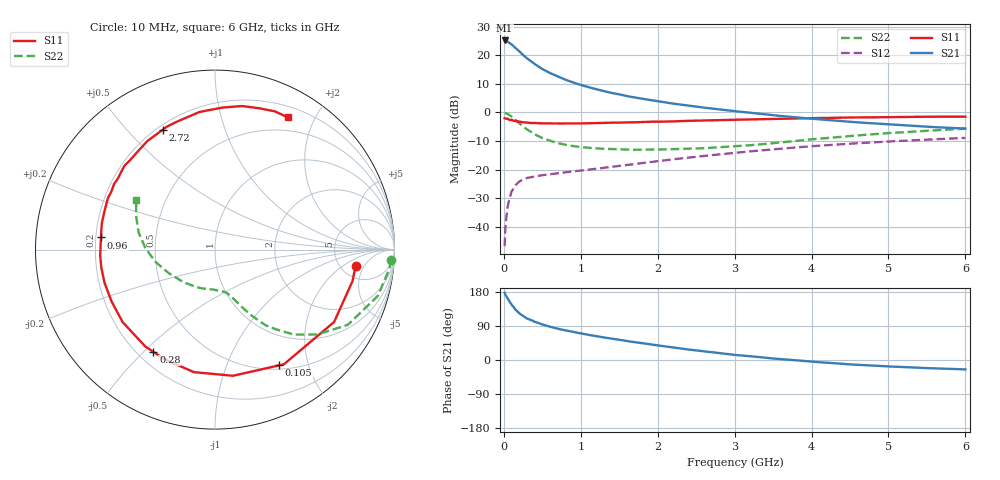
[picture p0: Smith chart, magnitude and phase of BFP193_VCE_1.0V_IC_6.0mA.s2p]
! Infineon Technologies  Discrete & RF Semiconductors
! BFP193
! VCE = 1.0 V,  IC =  6.0 mA
! Common Emitter S-Parameters:  Jan 2016
# GHz  S  MA  R  50
!  f  S11  S21  S12  S22
! GHz  MAG  ANG  MAG  ANG  MAG  ANG  MAG  ANG
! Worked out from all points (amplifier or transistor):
!   210 points, 10 MHz to 6 GHz, reference 50 ohm
!   highest |S21| = 25.1 dB at 10 MHz (marker M1)
!   |S21| within 3 dB of that: start of sweep to 167.3 MHz
!   unconditionally stable (mu >= 1): 1.152 GHz to 3.968 GHz
!   at 185 MHz: K = 0.24, MSG = 23.1 dB, |S12| = -24.6 dB
!   at 1.52 GHz: K = 1.10, MAG = 10.5 dB, |S12| = -18.6 dB
!   at 6 GHz: K = 0.96, MSG = 1.6 dB, |S12| = -8.9 dB
!   S11 on the Smith chart (normalised r, x): 10 MHz: 6.90, -3.26; 105 MHz: 0.55, -1.55; 280 MHz: 0.26, -0.53; 960 MHz: 0.22, +0.05; 2.72 GHz: 0.22, +0.63; 6 GHz: 0.33, +1.64
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0.01  0.7887 -6.5  18.05 177.3  0.0046 86.8  0.9831 -3.3
0.02  0.7861 -12.9  17.76 172.2  0.0093 80.7  0.9767 -6.5
0.05  0.7766 -31.3  17.21 161.8  0.0224 74.9  0.9429 -15.9
0.1  0.7454 -59.0  15.49 146.3  0.0412 62.6  0.8507 -29.5
0.105  0.7368 -61.1  15.26 145.1  0.0423 61.3  0.8386 -30.4
0.15  0.7101 -81.9  13.42 132.9  0.0534 52.2  0.7406 -39.7
0.2  0.6927 -99.7  11.67 123.5  0.0618 45.6  0.6473 -47.0
0.24  0.6737 -111.2  10.36 117.4  0.0662 41.7  0.5822 -51.0
0.28  0.665 -121.1  9.299 112.2  0.0698 39.1  0.5301 -54.5
0.3  0.6649 -125.8  8.821 109.6  0.0714 38.0  0.5064 -56.3
0.4  0.6542 -141.9  7.005 100.9  0.0761 34.2  0.4136 -61.4
0.5  0.6446 -153.5  5.716 93.7  0.0798 32.4  0.3562 -64.7
0.7  0.6413 -171.0  4.237 82.5  0.0862 32.4  0.2913 -69.4
0.96  0.6391 173.9  3.135 71.8  0.0947 34.2  0.2517 -74.6
1.02  0.642 170.8  2.96 69.5  0.0967 34.6  0.2466 -75.9
1.4  0.6619 154.4  2.186 56.4  0.1115 37.1  0.2295 -84.9
2.02  0.6873 133.4  1.547 38.0  0.1415 39.2  0.2245 -103.0
2.72  0.729 113.4  1.161 20.2  0.18 37.3  0.242 -127.0
3.1  0.7471 104.6  1.018 11.8  0.2026 35.0  0.261 -140.6
4.1  0.7955 85.4  0.756 -5.8  0.2619 26.5  0.3469 -171.2
5.1  0.8275 71.3  0.605 -17.8  0.3147 15.9  0.4426 165.2
6  0.8408 61.2  0.522 -24.8  0.358 5.8  0.5193 147.7
